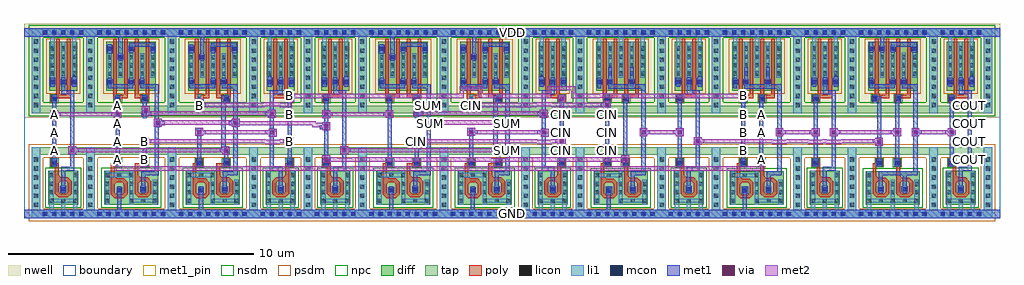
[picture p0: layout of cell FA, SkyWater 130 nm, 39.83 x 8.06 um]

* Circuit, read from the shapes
.subckt FA A B CIN COUT GND SUM VDD
XM1 GND A n1 GND sky130_fd_pr__nfet_01v8 w=2.56 l=0.147
XM2 n2 A GND GND sky130_fd_pr__nfet_01v8 w=2.6 l=0.1467
XM3 n2 B n3 GND sky130_fd_pr__nfet_01v8 w=2.56 l=0.1465
XM4 n4 n5 GND GND sky130_fd_pr__nfet_01v8 w=2.6 l=0.1469
XM5 n4 n1 n3 GND sky130_fd_pr__nfet_01v8 w=2.56 l=0.1474
XM6 GND B n5 GND sky130_fd_pr__nfet_01v8 w=2.56 l=0.1481
XM7 GND n3 n6 GND sky130_fd_pr__nfet_01v8 w=2.56 l=0.147
XM8 n7 n3 GND GND sky130_fd_pr__nfet_01v8 w=2.6 l=0.1467
XM9 n7 CIN SUM GND sky130_fd_pr__nfet_01v8 w=2.56 l=0.1465
XM10 n8 n9 GND GND sky130_fd_pr__nfet_01v8 w=2.6 l=0.1469
XM11 n8 n6 SUM GND sky130_fd_pr__nfet_01v8 w=2.56 l=0.1481
XM12 GND CIN n9 GND sky130_fd_pr__nfet_01v8 w=2.56 l=0.1481
XM13 n10 CIN GND GND sky130_fd_pr__nfet_01v8 w=2.6 l=0.1475
XM14 n10 n3 n11 GND sky130_fd_pr__nfet_01v8 w=2.56 l=0.1473
XM15 GND n11 n12 GND sky130_fd_pr__nfet_01v8 w=2.56 l=0.147
XM16 n13 B GND GND sky130_fd_pr__nfet_01v8 w=2.6 l=0.1475
XM17 n13 A n14 GND sky130_fd_pr__nfet_01v8 w=2.56 l=0.1473
XM18 GND n14 n15 GND sky130_fd_pr__nfet_01v8 w=2.56 l=0.1472
XM19 GND n12 n16 GND sky130_fd_pr__nfet_01v8 w=2.56 l=0.1456
XM20 GND n15 n16 GND sky130_fd_pr__nfet_01v8 w=2.56 l=0.1471
XM21 GND n16 COUT GND sky130_fd_pr__nfet_01v8 w=2.56 l=0.1485
XM22 n1 A VDD VDD sky130_fd_pr__pfet_01v8 w=2 l=0.15 m=2
XM23 VDD A n17 VDD sky130_fd_pr__pfet_01v8 w=2 l=0.15 m=2
XM24 n3 n5 n17 VDD sky130_fd_pr__pfet_01v8 w=2 l=0.15 m=2
XM25 VDD B n18 VDD sky130_fd_pr__pfet_01v8 w=2 l=0.15 m=2
XM26 n3 n1 n18 VDD sky130_fd_pr__pfet_01v8 w=2 l=0.15 m=2
XM27 n5 B VDD VDD sky130_fd_pr__pfet_01v8 w=2 l=0.15 m=2
XM28 n6 n3 VDD VDD sky130_fd_pr__pfet_01v8 w=2 l=0.15 m=2
XM29 VDD n3 n19 VDD sky130_fd_pr__pfet_01v8 w=2 l=0.15 m=2
XM30 SUM n9 n19 VDD sky130_fd_pr__pfet_01v8 w=2 l=0.15 m=2
XM31 VDD CIN n20 VDD sky130_fd_pr__pfet_01v8 w=2 l=0.15 m=2
XM32 SUM n6 n20 VDD sky130_fd_pr__pfet_01v8 w=2 l=0.15 m=2
XM33 n9 CIN VDD VDD sky130_fd_pr__pfet_01v8 w=2 l=0.15 m=2
XM34 n11 CIN VDD VDD sky130_fd_pr__pfet_01v8 w=2 l=0.15 m=2
XM35 n11 n3 VDD VDD sky130_fd_pr__pfet_01v8 w=2 l=0.15 m=2
XM36 n12 n11 VDD VDD sky130_fd_pr__pfet_01v8 w=2 l=0.15 m=2
XM37 n14 B VDD VDD sky130_fd_pr__pfet_01v8 w=2 l=0.15 m=2
XM38 n14 A VDD VDD sky130_fd_pr__pfet_01v8 w=2 l=0.15 m=2
XM39 n15 n14 VDD VDD sky130_fd_pr__pfet_01v8 w=2 l=0.15 m=2
XM40 VDD n12 n21 VDD sky130_fd_pr__pfet_01v8 w=2 l=0.15 m=2
XM41 n16 n15 n21 VDD sky130_fd_pr__pfet_01v8 w=2 l=0.15 m=2
XM42 COUT n16 VDD VDD sky130_fd_pr__pfet_01v8 w=2 l=0.15 m=2
.ends

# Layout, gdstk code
from math import pi, radians
import gdstk
lib = gdstk.Library(unit=1e-6, precision=1e-09)
def R(c, l, rs):  # rectangles x0, y0, x1, y1
    for r in rs: c.add(gdstk.rectangle(r[:2], r[2:], *l))
def A(c, l, x, y, w, h, nx, ny, dx, dy):  # array of equal rectangles
    R(c, l, [(x+i*dx, y+j*dy, x+i*dx+w, y+j*dy+h) for i in range(nx) for j in range(ny)])
def P(c, l, *ps):  # polygons
    for p in ps: c.add(gdstk.Polygon(p, *l))
nwell = (64, 20)
diff = (65, 20)
tap = (65, 44)
poly = (66, 20)
licon = (66, 44)
li1 = (67, 20)
mcon = (67, 44)
met1_pin = (68, 16)
met1 = (68, 20)
via = (68, 44)
met2 = (69, 20)
nsdm = (93, 44)
psdm = (94, 20)
npc = (95, 20)
boundary = (235, 4)

diff_ring_side = lib.new_cell('diff_ring_side')
R(diff_ring_side, nwell, [(-0.435,3.93,0.435,7.75)])
R(diff_ring_side, tap, [(-0.17,-0.17,0.17,2.72), (-0.17,4.11,0.17,7.57)])
A(diff_ring_side, licon, -0.085, 0.285, 0.17, 0.17, 1, 6, 0, 0.37)
A(diff_ring_side, licon, -0.085, 4.355, 0.17, 0.17, 1, 8, 0, 0.37)
R(diff_ring_side, li1, [(-0.17,-0.17,0.17,2.72), (-0.17,4.11,0.17,7.57)])
R(diff_ring_side, met1, [(-0.17,-0.17,0.17,0.17), (-0.17,7.23,0.17,7.57)])
R(diff_ring_side, nsdm, [(-0.295,3.985,0.295,7.695)])
R(diff_ring_side, psdm, [(-0.295,-0.295,0.295,2.845)])

poly_li1_contact = lib.new_cell('poly_li1_contact')
R(poly_li1_contact, poly, [(-0.16,-0.14,0.17,0.13)])
R(poly_li1_contact, licon, [(-0.08,-0.09,0.09,0.08)])
R(poly_li1_contact, li1, [(-0.16,-0.09,0.17,0.08)])
R(poly_li1_contact, npc, [(-0.18,-0.19,0.19,0.18)])

pmos2 = lib.new_cell('pmos2')
R(pmos2, nwell, [(0.26,-2.18,1.76,0.18)])
R(pmos2, diff, [(0.44,-2,1.58,0)])
R(pmos2, poly, [(0.72,-2.305,1.31,-2.155), (0.72,-2.155,0.87,0.13), (1.16,-2.155,1.31,0.13)])
A(pmos2, licon, 0.49, -1.38, 0.17, 0.17, 3, 4, 0.44, 0.34)
R(pmos2, li1, [(0.49,-1.465,0.66,0.21), (0.93,-1.465,1.1,0), (1.37,-1.465,1.54,0.21)])
R(pmos2, psdm, [(0.315,-2.125,1.705,0.125)])

nmos_top = lib.new_cell('nmos_top')
R(nmos_top, diff, [(0,0,1.23,1.38)])
R(nmos_top, poly, [(0.42,0.31,0.8,0.46), (0.27,0.46,0.42,0.965), (0.8,0.46,0.95,0.965), (0.42,0.965,0.95,1.115), (0.8,1.115,0.95,1.54)])
P(nmos_top, poly, [(0.72,1.115),(0.8,1.115),(0.8,1.195)],
  [(0.27,0.965),(0.42,0.965),(0.42,1.115)],
  [(0.42,0.885),(0.42,0.965),(0.5,0.965)],
  [(0.72,0.965),(0.8,0.965),(0.8,0.885)],
  [(0.42,0.54),(0.42,0.46),(0.5,0.46)],
  [(0.72,0.46),(0.8,0.46),(0.8,0.54)],
  [(0.27,0.46),(0.42,0.46),(0.42,0.31)],
  [(0.8,0.31),(0.8,0.46),(0.95,0.46)])
R(nmos_top, licon, [(0.04,0.08,0.21,0.25), (0.53,0.08,0.7,0.25), (1.01,0.08,1.18,0.25), (0.04,0.43,0.21,0.6), (1.01,0.43,1.18,0.6), (0.53,0.55,0.7,0.72), (0.04,0.77,0.21,0.94), (1.01,0.77,1.18,0.94), (0.04,1.13,0.21,1.3), (1.01,1.13,1.18,1.3)])
R(nmos_top, li1, [(0.04,0,0.21,0.08), (1.01,0,1.18,0.08), (0.04,0.08,1.18,0.25), (0.04,0.25,0.21,1.38), (1.01,0.25,1.18,1.38), (0.53,0.47,0.7,0.805)])
R(nmos_top, nsdm, [(-0.125,-0.125,1.355,1.505)])

invx1_pcell = lib.new_cell('invx1_pcell')
R(invx1_pcell, nwell, [(-0.435,3.93,2.655,7.75)])
A(invx1_pcell, diff, 0.59, 5.295, 0.17, 0.17, 3, 1, 0.44, 0)
R(invx1_pcell, tap, [(0.17,-0.17,2.05,0.085), (0.17,2.41,2.05,2.72), (0.17,4.11,2.05,4.42), (0.17,7.315,2.05,7.57)])
R(invx1_pcell, poly, [(0.775,1.905,0.925,2.065)])
A(invx1_pcell, licon, 0.285, -0.085, 0.17, 0.17, 5, 2, 0.37, 7.4)
A(invx1_pcell, licon, 0.59, 5.295, 0.17, 0.17, 3, 1, 0.44, 0)
A(invx1_pcell, li1, 0.59, 5.215, 0.17, 0.37, 3, 1, 0.44, 0)
R(invx1_pcell, li1, [(-0.17,-0.17,2.33,0.17), (0.545,0.17,0.715,0.42), (1.025,0.17,1.195,0.45), (1.515,0.17,1.685,0.45), (1.025,0.92,1.195,1.09), (0.655,2,0.825,2.17), (0.655,4.615,0.825,4.785), (-0.17,7.23,2.39,7.57)])
A(invx1_pcell, mcon, 0.285, -0.085, 0.17, 0.17, 5, 2, 0.37, 7.4)
A(invx1_pcell, mcon, 0.59, 5.295, 0.17, 0.17, 3, 1, 0.44, 0)
R(invx1_pcell, mcon, [(1.025,0.92,1.195,1.09), (0.655,2,0.825,2.17), (0.655,4.615,0.825,4.785)])
R(invx1_pcell, met1, [(-0.17,-0.17,2.39,0.17), (0.99,0.86,1.23,1.15), (1.025,1.15,1.195,1.755), (1.025,1.755,1.565,1.925), (1.395,1.925,1.565,4.875), (0.615,1.94,0.865,2.25), (0.655,2.25,0.825,4.58), (0.62,4.58,0.87,4.83), (0.655,4.83,0.825,4.865), (1.03,4.875,1.565,5.045), (1.03,5.045,1.2,5.24), (0.59,5.185,0.76,5.24), (1.47,5.185,1.64,5.24), (0.56,5.24,0.795,5.555), (1,5.24,1.23,5.505), (1.44,5.24,1.675,5.555), (1.03,5.505,1.2,5.575), (1.47,5.555,1.64,5.62), (-0.17,7.23,2.39,7.57)])
R(invx1_pcell, nsdm, [(0.045,3.985,2.175,4.545), (0.045,7.19,2.175,7.695)])
R(invx1_pcell, psdm, [(0.045,-0.295,2.175,0.21), (0.045,2.285,2.175,2.845), (0.465,5.17,1.765,5.59)])
invx1_pcell.add(gdstk.Reference(poly_li1_contact, (0.735,2.08), rotation=pi/2))
invx1_pcell.add(gdstk.Reference(poly_li1_contact, (0.745,4.705), rotation=3*pi/2))
invx1_pcell.add(gdstk.Reference(pmos2, (0.1,7.02)))
invx1_pcell.add(gdstk.Reference(nmos_top, (1.725,0.37), rotation=pi, x_reflection=True))
invx1_pcell.add(gdstk.Reference(diff_ring_side, (0,0)))
invx1_pcell.add(gdstk.Reference(diff_ring_side, (2.22,0)))

li1_m1_contact = lib.new_cell('li1_M1_contact')
R(li1_m1_contact, li1, [(-0.085,-0.165,0.085,0.165)])
R(li1_m1_contact, mcon, [(-0.085,-0.085,0.085,0.085)])
R(li1_m1_contact, met1, [(-0.115,-0.115,0.115,-0.085), (-0.265,-0.085,0.145,0.085), (-0.115,0.085,0.115,0.115)])

pmos2_1 = lib.new_cell('pmos2_1')
R(pmos2_1, nwell, [(0.26,-2.175,1.76,0.185)])
R(pmos2_1, diff, [(0.44,-1.995,1.58,0.005)])
R(pmos2_1, poly, [(0.72,-2.3,1.31,-2.15), (0.72,-2.15,0.87,0.135), (1.16,-2.15,1.31,0.135)])
A(pmos2_1, licon, 0.49, -1.385, 0.17, 0.17, 3, 3, 0.44, 0.34)
A(pmos2_1, li1, 0.49, -1.465, 0.17, 1.01, 3, 1, 0.44, 0)
R(pmos2_1, psdm, [(0.315,-2.12,1.705,0.13)])

nmos_top_trim1 = lib.new_cell('nmos_top_trim1')
R(nmos_top_trim1, diff, [(0,0,1.24,1.38)])
R(nmos_top_trim1, poly, [(0.43,0.31,0.81,0.46), (0.28,0.46,0.43,0.965), (0.81,0.46,0.96,0.965), (0.43,0.965,0.96,1.115), (0.81,1.115,0.96,1.545)])
P(nmos_top_trim1, poly, [(0.73,1.115),(0.81,1.115),(0.81,1.195)],
  [(0.28,0.965),(0.43,0.965),(0.43,1.115)],
  [(0.43,0.885),(0.43,0.965),(0.51,0.965)],
  [(0.73,0.965),(0.81,0.965),(0.81,0.885)],
  [(0.43,0.54),(0.43,0.46),(0.51,0.46)],
  [(0.73,0.46),(0.81,0.46),(0.81,0.54)],
  [(0.28,0.46),(0.43,0.46),(0.43,0.31)],
  [(0.81,0.31),(0.81,0.46),(0.96,0.46)])
A(nmos_top_trim1, licon, 0.05, 0.08, 0.17, 0.17, 3, 1, 0.485, 0)
R(nmos_top_trim1, licon, [(0.05,0.43,0.22,0.6), (1.02,0.43,1.19,0.6), (0.535,0.55,0.705,0.72), (0.05,0.77,0.22,0.94), (1.02,0.77,1.19,0.94), (1.02,1.13,1.19,1.3)])
R(nmos_top_trim1, li1, [(0.05,0,0.22,0.08), (1.02,0,1.19,0.08), (0.05,0.08,1.19,0.25), (0.05,0.25,0.22,1.02), (1.02,0.25,1.19,1.38), (0.535,0.47,0.705,0.805)])
R(nmos_top_trim1, nsdm, [(-0.125,-0.125,1.365,1.505)])

nmos_bottom = lib.new_cell('nmos_bottom')
R(nmos_bottom, diff, [(0,0,1.24,1.38)])
R(nmos_bottom, poly, [(0.43,0.27,0.81,0.42), (0.28,0.42,0.43,0.925), (0.81,0.42,0.96,0.925), (0.43,0.925,0.96,1.075), (0.81,1.075,0.96,1.51)])
P(nmos_bottom, poly, [(0.73,1.075),(0.81,1.075),(0.81,1.155)],
  [(0.28,0.925),(0.43,0.925),(0.43,1.075)],
  [(0.43,0.845),(0.43,0.925),(0.51,0.925)],
  [(0.73,0.925),(0.81,0.925),(0.81,0.845)],
  [(0.43,0.5),(0.43,0.42),(0.51,0.42)],
  [(0.73,0.42),(0.81,0.42),(0.81,0.5)],
  [(0.28,0.42),(0.43,0.42),(0.43,0.27)],
  [(0.81,0.27),(0.81,0.42),(0.96,0.42)])
A(nmos_bottom, licon, 0.05, 1.13, 0.17, 0.17, 3, 1, 0.485, 0)
R(nmos_bottom, licon, [(0.05,0.08,0.22,0.25), (1.02,0.08,1.19,0.25), (0.05,0.43,0.22,0.6), (1.02,0.43,1.19,0.6), (0.535,0.505,0.705,0.675), (0.05,0.77,0.22,0.94), (1.02,0.77,1.19,0.94)])
R(nmos_bottom, li1, [(0.05,0,0.22,1.13), (1.02,0,1.19,1.13), (0.535,0.425,0.705,0.755), (0.05,1.13,1.19,1.3), (0.05,1.3,0.22,1.38), (1.02,1.3,1.19,1.38)])
R(nmos_bottom, nsdm, [(-0.125,-0.125,1.365,1.505)])

xor2x1_pcell = lib.new_cell('xor2X1_pcell')
R(xor2x1_pcell, nwell, [(2.655,3.93,8.445,4.125), (2.64,4.125,5.13,4.84), (5.97,4.125,8.46,4.84), (10.21,4.525,10.275,4.565), (2.64,4.84,2.695,7.195), (5.075,4.84,5.13,7.195), (5.97,4.84,6.025,7.2), (8.405,4.84,8.46,7.2), (2.925,6.65,3.095,6.82), (2.64,7.195,5.13,7.23), (5.97,7.2,8.46,7.23), (2.39,7.23,5.38,7.245), (5.72,7.23,8.71,7.245), (2.39,7.245,5.395,7.315), (5.705,7.245,8.71,7.315), (2.39,7.315,8.71,7.57), (2.64,7.57,5.13,7.66), (5.97,7.57,8.46,7.66), (2.655,7.66,8.445,7.75)])
A(xor2x1_pcell, diff, 2.925, 6.65, 0.17, 0.17, 3, 1, 0.88, 0)
A(xor2x1_pcell, diff, 6.255, 6.65, 0.17, 0.17, 3, 1, 0.88, 0)
R(xor2x1_pcell, diff, [(2.925,5.29,3.095,5.46), (3.805,5.29,3.975,5.46), (4.245,5.29,4.415,5.46), (6.255,5.29,6.425,5.46), (7.135,5.29,7.305,5.46), (7.575,5.29,7.745,5.46)])
R(xor2x1_pcell, tap, [(2.39,-0.17,5.38,-0.085), (5.72,-0.17,8.71,-0.085), (2.39,-0.085,5.395,0.085), (5.705,-0.085,8.71,0.085), (2.39,2.41,5.395,2.72), (5.705,2.41,8.71,2.72), (2.39,4.11,5.395,4.42), (5.705,4.11,8.71,4.42), (2.39,7.315,8.71,7.57)])
R(xor2x1_pcell, poly, [(3.06,1.88,3.21,1.92), (6.39,1.88,6.54,1.92), (4.03,1.915,4.18,1.92), (7.36,1.915,7.51,1.92), (3.06,1.92,3.195,2.07), (4.03,1.92,4.305,2.07), (6.39,1.92,6.525,2.07), (7.36,1.92,7.635,2.07)])
A(xor2x1_pcell, licon, 2.505, -0.085, 0.17, 0.17, 8, 2, 0.37, 7.4)
A(xor2x1_pcell, licon, 5.835, -0.085, 0.17, 0.17, 8, 2, 0.37, 7.4)
A(xor2x1_pcell, licon, 2.925, 6.65, 0.17, 0.17, 3, 1, 0.88, 0)
A(xor2x1_pcell, licon, 6.255, 6.65, 0.17, 0.17, 3, 1, 0.88, 0)
R(xor2x1_pcell, licon, [(2.925,5.29,3.095,5.46), (3.805,5.29,3.975,5.46), (4.245,5.29,4.415,5.46), (6.255,5.29,6.425,5.46), (7.135,5.29,7.305,5.46), (7.575,5.29,7.745,5.46)])
A(xor2x1_pcell, li1, 2.925, 6.56, 0.17, 0.34, 3, 1, 0.88, 0)
A(xor2x1_pcell, li1, 6.255, 6.56, 0.17, 0.34, 3, 1, 0.88, 0)
R(xor2x1_pcell, li1, [(2.375,-0.17,9.075,0.17), (3.315,0.875,3.485,1.045), (6.645,0.875,6.815,1.045), (4.285,0.92,4.455,1.09), (7.615,0.92,7.785,1.09), (3.245,2,3.415,2.17), (4.355,2,4.525,2.17), (6.575,2,6.745,2.17), (7.685,2,7.855,2.17), (0.655,4.615,0.825,4.785), (3.245,4.615,3.415,4.785), (4.355,4.615,4.525,4.785), (7.685,4.615,7.855,4.785), (2.925,5.21,3.095,5.63), (3.805,5.21,3.975,5.565), (4.245,5.21,4.415,5.575), (6.255,5.21,6.425,5.605), (7.135,5.21,7.305,5.59), (7.575,5.21,7.745,5.6), (3.365,6.31,3.535,6.48), (6.695,6.31,6.865,6.48), (2.39,7.23,8.845,7.57)])
A(xor2x1_pcell, mcon, 2.505, -0.085, 0.17, 0.17, 8, 2, 0.37, 7.4)
A(xor2x1_pcell, mcon, 5.835, -0.085, 0.17, 0.17, 8, 2, 0.37, 7.4)
A(xor2x1_pcell, mcon, 2.925, 6.65, 0.17, 0.17, 3, 1, 0.88, 0)
A(xor2x1_pcell, mcon, 6.255, 6.65, 0.17, 0.17, 3, 1, 0.88, 0)
R(xor2x1_pcell, mcon, [(3.315,0.875,3.485,1.045), (6.645,0.875,6.815,1.045), (4.285,0.92,4.455,1.09), (7.615,0.92,7.785,1.09), (3.245,2,3.415,2.17), (4.355,2,4.525,2.17), (6.575,2,6.745,2.17), (7.685,2,7.855,2.17), (0.655,4.615,0.825,4.785), (3.245,4.615,3.415,4.785), (4.355,4.615,4.525,4.785), (7.685,4.615,7.855,4.785), (2.925,5.29,3.095,5.46), (3.805,5.29,3.975,5.46), (4.245,5.29,4.415,5.46), (6.255,5.29,6.425,5.46), (7.135,5.29,7.305,5.46), (7.575,5.29,7.745,5.46), (3.365,6.31,3.535,6.48), (6.695,6.31,6.865,6.48)])
R(xor2x1_pcell, met1, [(2.39,-0.17,5.38,-0.14), (5.72,-0.17,8.71,-0.14), (2.39,-0.14,5.395,0.17), (5.705,-0.14,8.71,0.17), (3.315,0.17,3.485,0.845), (6.645,0.17,6.815,0.845), (3.285,0.845,3.52,1.08), (6.615,0.845,6.845,1.075), (4.285,0.86,4.455,0.885), (7.615,0.86,7.785,0.89), (4.255,0.885,4.49,1.125), (7.585,0.89,7.815,1.12), (6.645,1.075,6.815,1.105), (3.315,1.08,3.485,1.105), (7.615,1.12,7.785,1.57), (4.285,1.125,4.455,1.57), (4.285,1.57,5.015,1.74), (7.615,1.57,8.225,1.74), (4.845,1.74,5.015,3.555), (8.055,1.74,8.225,3.555), (3.245,1.94,3.415,1.965), (4.355,1.94,4.525,1.97), (6.575,1.94,6.745,1.96), (7.685,1.94,7.855,1.96), (6.54,1.96,6.78,2.205), (7.64,1.96,7.895,2.23), (3.205,1.965,3.45,2.24), (4.315,1.97,4.56,2.235), (6.575,2.205,6.745,3.205), (7.685,2.23,7.855,2.415), (4.355,2.235,4.525,2.815), (3.245,2.24,3.415,3.915), (7.595,2.415,7.915,2.64), (1.32,2.43,1.64,2.75), (7.565,2.64,7.915,2.735), (9.535,2.69,9.705,3.155), (7.565,2.735,7.735,4.55), (10.195,2.8,10.515,3.12), (4.28,2.815,4.6,2.875), (4.28,2.875,4.57,3.045), (4.28,3.045,4.6,3.135), (9.495,3.155,9.815,3.475), (6.5,3.205,6.82,3.505), (9.535,3.475,9.705,3.96), (4.845,3.555,5.135,3.585), (7.995,3.555,8.305,3.875), (4.815,3.585,5.135,3.875), (0.655,3.62,0.825,3.91), (4.845,3.875,5.015,5.12), (8.055,3.875,8.225,5.12), (0.58,3.91,0.9,4.23), (3.165,3.915,3.485,4.235), (9.465,3.96,9.785,4.25), (4.325,4.075,4.645,4.395), (0.655,4.23,0.825,4.585), (3.245,4.235,3.415,4.585), (9.535,4.25,9.705,4.355), (6.575,4.31,6.745,4.37), (6.5,4.37,6.82,4.69), (4.355,4.395,4.525,4.585), (10.21,4.545,10.53,4.865), (7.565,4.55,7.89,4.82), (0.62,4.585,0.86,4.835), (3.215,4.585,3.445,4.815), (4.315,4.585,4.565,4.83), (3.245,4.815,3.415,4.845), (7.685,4.82,7.855,4.845), (4.355,4.83,4.525,4.845), (0.655,4.835,0.825,4.845), (2.925,5.12,3.975,5.255), (4.245,5.12,5.015,5.26), (6.255,5.12,7.305,5.26), (7.575,5.12,8.225,5.26), (2.89,5.255,4.01,5.29), (4.215,5.26,5.015,5.29), (6.225,5.26,7.335,5.29), (7.545,5.26,8.225,5.29), (2.89,5.29,3.145,5.49), (3.77,5.29,4.01,5.49), (4.215,5.29,4.445,5.49), (6.225,5.29,6.455,5.49), (7.105,5.29,7.335,5.49), (7.545,5.29,7.775,5.49), (2.925,5.49,3.095,5.55), (3.805,5.49,3.975,5.55), (4.245,5.49,4.415,5.55), (6.255,5.49,6.425,5.55), (7.135,5.49,7.305,5.55), (7.575,5.49,7.745,5.55), (3.365,6.25,3.535,6.28), (6.695,6.25,6.865,6.28), (3.335,6.28,3.565,6.52), (6.665,6.28,6.895,6.51), (6.695,6.51,6.865,7.23), (3.365,6.52,3.535,7.23), (2.925,6.54,3.095,6.56), (6.255,6.545,6.425,6.57), (2.895,6.56,3.125,6.885), (3.805,6.56,3.975,6.62), (4.685,6.56,4.855,6.62), (7.135,6.56,7.305,6.62), (8.015,6.56,8.185,6.615), (6.215,6.57,6.455,6.88), (7.98,6.615,8.215,6.82), (3.775,6.62,4.005,6.82), (4.655,6.62,4.885,6.82), (7.105,6.62,7.335,6.82), (3.775,6.82,4.885,6.85), (7.105,6.82,8.215,6.85), (3.805,6.85,4.885,6.855), (7.135,6.85,8.215,6.87), (3.805,6.855,4.855,6.99), (7.135,6.87,8.185,6.99), (6.255,6.88,6.425,6.91), (2.925,6.885,3.095,6.925), (2.39,7.23,5.38,7.245), (5.72,7.23,8.71,7.245), (2.39,7.245,5.395,7.315), (5.705,7.245,8.71,7.315), (2.39,7.315,8.71,7.57)])
R(xor2x1_pcell, via, [(7.68,2.5,7.83,2.65), (1.405,2.515,1.555,2.665), (10.28,2.885,10.43,3.035), (4.365,2.9,4.515,3.05), (9.58,3.24,9.73,3.39), (6.585,3.27,6.735,3.42), (4.9,3.64,5.05,3.79), (8.08,3.64,8.23,3.79), (0.665,3.995,0.815,4.145), (3.25,4,3.4,4.15), (9.55,4.015,9.7,4.165), (4.41,4.16,4.56,4.31), (6.585,4.455,6.735,4.605), (10.295,4.63,10.445,4.78)])
R(xor2x1_pcell, met2, [(7.595,2.415,7.915,2.505), (1.32,2.43,1.64,2.505), (1.32,2.505,7.915,2.675), (1.32,2.675,1.64,2.75), (7.595,2.675,7.915,2.735), (10.195,2.8,10.515,2.875), (4.28,2.815,4.6,2.875), (9.355,2.845,9.955,2.875), (4.28,2.875,10.515,3.015), (4.28,3.015,9.355,3.045), (9.955,3.015,10.515,3.045), (4.28,3.045,4.6,3.135), (10.195,3.045,10.515,3.12), (9.495,3.155,9.815,3.245), (6.5,3.185,6.82,3.245), (6.5,3.245,9.815,3.415), (6.5,3.415,6.82,3.505), (9.495,3.415,9.815,3.475), (4.815,3.555,5.135,3.645), (7.995,3.555,8.315,3.645), (4.815,3.645,8.315,3.815), (4.815,3.815,5.135,3.875), (7.995,3.815,8.315,3.875), (0.58,3.91,0.9,3.985), (3.165,3.915,3.485,3.985), (9.465,3.93,9.785,4.015), (0.58,3.985,3.485,4.155), (4.325,3.985,4.54,4.015), (4.325,4.015,9.785,4.185), (0.58,4.155,0.9,4.23), (3.165,4.155,3.485,4.235), (4.325,4.185,4.645,4.395), (9.465,4.185,9.785,4.25), (6.82,4.355,9.325,4.37), (9.925,4.355,10.425,4.39), (6.5,4.37,9.325,4.39), (6.5,4.39,10.425,4.525), (6.5,4.525,6.82,4.69), (9.185,4.525,10.065,4.53), (10.21,4.525,10.425,4.545), (9.325,4.53,9.925,4.56), (10.21,4.545,10.53,4.865)])
R(xor2x1_pcell, nsdm, [(2.265,3.985,8.835,4.545), (2.265,7.19,8.835,7.695)])
A(xor2x1_pcell, psdm, 2.8, 6.525, 0.42, 0.42, 3, 1, 0.88, 0)
A(xor2x1_pcell, psdm, 6.13, 6.525, 0.42, 0.42, 3, 1, 0.88, 0)
R(xor2x1_pcell, psdm, [(2.265,-0.295,8.835,0.21), (2.265,2.285,8.835,2.845), (2.8,5.165,3.22,5.585), (3.68,5.165,4.54,5.585), (6.13,5.165,6.55,5.585), (7.01,5.165,7.87,5.585)])
xor2x1_pcell.add(gdstk.Reference(diff_ring_side, (2.22,0)))
xor2x1_pcell.add(gdstk.Reference(invx1_pcell, (0,0)))
xor2x1_pcell.add(gdstk.Reference(li1_m1_contact, (0.74,4.07), rotation=pi))
xor2x1_pcell.add(gdstk.Reference(li1_m1_contact, (1.48,2.59), rotation=pi))
xor2x1_pcell.add(gdstk.Reference(poly_li1_contact, (3.335,2.09), rotation=3*pi/2))
xor2x1_pcell.add(gdstk.Reference(poly_li1_contact, (3.335,4.705), rotation=3*pi/2))
xor2x1_pcell.add(gdstk.Reference(pmos2_1, (3.315,7.015)))
xor2x1_pcell.add(gdstk.Reference(pmos2_1, (2.435,7.015)))
xor2x1_pcell.add(gdstk.Reference(nmos_top_trim1, (4.99,0.37), rotation=pi, x_reflection=True))
xor2x1_pcell.add(gdstk.Reference(nmos_bottom, (4.02,0.37), rotation=pi, x_reflection=True))
xor2x1_pcell.add(gdstk.Reference(li1_m1_contact, (3.33,4.07)))
xor2x1_pcell.add(gdstk.Reference(poly_li1_contact, (4.445,4.705), rotation=3*pi/2))
xor2x1_pcell.add(gdstk.Reference(poly_li1_contact, (4.445,2.09), rotation=3*pi/2))
xor2x1_pcell.add(gdstk.Reference(li1_m1_contact, (4.44,2.96), rotation=pi))
xor2x1_pcell.add(gdstk.Reference(li1_m1_contact, (4.98,3.7), rotation=pi))
xor2x1_pcell.add(gdstk.Reference(li1_m1_contact, (4.44,4.07), rotation=pi))
xor2x1_pcell.add(gdstk.Reference(diff_ring_side, (5.55,0)))
xor2x1_pcell.add(gdstk.Reference(poly_li1_contact, (6.665,4.705), rotation=3*pi/2))
xor2x1_pcell.add(gdstk.Reference(poly_li1_contact, (6.665,2.09), rotation=3*pi/2))
xor2x1_pcell.add(gdstk.Reference(pmos2_1, (6.645,7.015)))
xor2x1_pcell.add(gdstk.Reference(pmos2_1, (5.765,7.015)))
xor2x1_pcell.add(gdstk.Reference(nmos_top_trim1, (8.32,0.37), rotation=pi, x_reflection=True))
xor2x1_pcell.add(gdstk.Reference(nmos_bottom, (7.35,0.37), rotation=pi, x_reflection=True))
xor2x1_pcell.add(gdstk.Reference(li1_m1_contact, (6.66,3.33), rotation=pi))
xor2x1_pcell.add(gdstk.Reference(li1_m1_contact, (6.66,4.44), rotation=pi))
xor2x1_pcell.add(gdstk.Reference(poly_li1_contact, (7.775,4.705), rotation=3*pi/2))
xor2x1_pcell.add(gdstk.Reference(poly_li1_contact, (7.775,2.09), rotation=3*pi/2))
xor2x1_pcell.add(gdstk.Reference(li1_m1_contact, (8.14,3.7)))
xor2x1_pcell.add(gdstk.Reference(li1_m1_contact, (7.77,2.59)))
xor2x1_pcell.add(gdstk.Reference(diff_ring_side, (8.88,0)))
xor2x1_pcell.add(gdstk.Reference(invx1_pcell, (11.1,0), rotation=pi, x_reflection=True))
xor2x1_pcell.add(gdstk.Reference(li1_m1_contact, (10.36,2.96)))
xor2x1_pcell.add(gdstk.Reference(li1_m1_contact, (9.62,4.07)))
xor2x1_pcell.add(gdstk.Reference(li1_m1_contact, (9.62,3.33)))

nand2x1_pcell = lib.new_cell('nand2x1_pcell')
R(nand2x1_pcell, nwell, [(0.435,3.93,2.895,7.75)])
R(nand2x1_pcell, diff, [(1.115,5.265,1.345,5.5), (1.995,5.265,2.225,5.5), (0.705,5.295,0.875,5.465)])
R(nand2x1_pcell, tap, [(0.17,-0.17,3.16,-0.15), (0.155,-0.15,3.175,0.085), (0.155,2.4,0.17,2.41), (3.16,2.4,3.175,2.41), (0.155,2.41,3.175,2.71), (0.17,2.71,3.16,2.72), (0.17,4.11,3.16,4.42), (0.17,7.315,3.16,7.57)])
R(nand2x1_pcell, poly, [(0.84,1.875,0.99,2.065), (1.81,1.91,1.96,1.915)])
A(nand2x1_pcell, licon, 0.285, -0.085, 0.17, 0.17, 8, 2, 0.37, 7.4)
R(nand2x1_pcell, licon, [(0.705,5.295,0.875,5.465), (1.145,5.295,1.315,5.465), (2.025,5.295,2.195,5.465)])
R(nand2x1_pcell, li1, [(0.165,-0.17,3.295,0.17), (1.095,0.87,1.265,1.04), (2.065,0.915,2.235,1.085), (1.025,1.995,1.195,2.165), (1.765,1.995,1.935,2.165), (1.025,4.615,1.195,4.785), (1.795,4.615,1.965,4.785), (0.705,5.215,0.875,5.61), (1.145,5.215,1.315,5.61), (2.025,5.215,2.195,5.61), (-0.17,7.23,3.17,7.57)])
A(nand2x1_pcell, mcon, 0.285, -0.085, 0.17, 0.17, 8, 2, 0.37, 7.4)
R(nand2x1_pcell, mcon, [(1.095,0.87,1.265,1.04), (2.065,0.915,2.235,1.085), (1.025,1.995,1.195,2.165), (1.765,1.995,1.935,2.165), (1.025,4.615,1.195,4.785), (1.795,4.615,1.965,4.785), (0.705,5.295,0.875,5.465), (1.145,5.295,1.315,5.465), (2.025,5.295,2.195,5.465)])
R(nand2x1_pcell, met1, [(-0.17,-0.17,3.5,0.17), (1.095,0.17,1.265,0.825), (1.045,0.825,1.31,1.1), (2.035,0.855,2.265,1.12), (2.065,1.12,2.235,1.57), (2.065,1.57,2.675,1.74), (2.505,1.74,2.675,5.115), (0.99,1.935,1.23,2.205), (1.735,1.935,1.97,2.205), (1.025,2.205,1.195,4.56), (1.765,2.205,1.935,4.555), (1.765,4.555,1.97,4.58), (0.995,4.56,1.23,4.845), (1.765,4.58,1.995,4.845), (1.145,5.115,2.675,5.265), (0.705,5.135,0.875,5.265), (0.675,5.265,0.905,5.5), (1.115,5.265,2.675,5.285), (1.115,5.285,1.345,5.5), (1.995,5.285,2.225,5.5), (0.705,5.5,0.875,5.555), (1.145,5.5,1.315,5.98), (2.025,5.5,2.195,5.98), (-0.17,7.23,3.5,7.57)])
R(nand2x1_pcell, nsdm, [(0.045,3.985,3.285,4.545), (0.045,7.19,3.285,7.695)])
R(nand2x1_pcell, psdm, [(0.045,-0.295,3.285,-0.275), (0.03,-0.275,3.3,0.21), (0.03,2.275,0.295,2.285), (3.035,2.275,3.3,2.285), (0.03,2.285,3.3,2.835), (0.045,2.835,3.285,2.845), (0.99,5.14,1.47,5.17), (1.87,5.14,2.35,5.625), (0.58,5.17,1.47,5.59), (0.99,5.59,1.47,5.625)])
nand2x1_pcell.add(gdstk.Reference(diff_ring_side, (0,0)))
nand2x1_pcell.add(gdstk.Reference(nmos_bottom, (1.8,0.365), rotation=pi, x_reflection=True))
nand2x1_pcell.add(gdstk.Reference(pmos2, (0.215,7.02)))
nand2x1_pcell.add(gdstk.Reference(poly_li1_contact, (1.115,4.705), rotation=3*pi/2))
nand2x1_pcell.add(gdstk.Reference(poly_li1_contact, (1.115,2.085), rotation=3*pi/2))
nand2x1_pcell.add(gdstk.Reference(nmos_top_trim1, (2.77,0.365), rotation=pi, x_reflection=True))
nand2x1_pcell.add(gdstk.Reference(pmos2, (1.095,7.02)))
nand2x1_pcell.add(gdstk.Reference(poly_li1_contact, (1.845,2.075), rotation=pi/2))
nand2x1_pcell.add(gdstk.Reference(poly_li1_contact, (1.885,4.705), rotation=3*pi/2))
nand2x1_pcell.add(gdstk.Reference(diff_ring_side, (3.33,0)))

and2x1_pcell = lib.new_cell('and2x1_pcell')
R(and2x1_pcell, met1, [(2.43,3.17,2.75,3.49), (3.905,3.17,4.225,3.49)])
R(and2x1_pcell, via, [(2.515,3.255,2.665,3.405), (3.99,3.255,4.14,3.405)])
R(and2x1_pcell, met2, [(2.43,3.17,2.75,3.245), (3.905,3.17,4.225,3.245), (2.43,3.245,4.225,3.415), (2.43,3.415,2.75,3.49), (3.905,3.415,4.225,3.49)])
and2x1_pcell.add(gdstk.Reference(nand2x1_pcell, (0,0)))
and2x1_pcell.add(gdstk.Reference(li1_m1_contact, (4.07,3.33)))
and2x1_pcell.add(gdstk.Reference(li1_m1_contact, (2.59,3.33), rotation=pi))
and2x1_pcell.add(gdstk.Reference(invx1_pcell, (3.33,0)))

nmos_top_trim2 = lib.new_cell('nmos_top_trim2')
R(nmos_top_trim2, diff, [(0,0,1.24,1.38)])
R(nmos_top_trim2, poly, [(0.43,0.31,0.81,0.46), (0.28,0.46,0.43,0.89), (0.81,0.46,0.96,0.89), (0.28,0.89,0.435,0.965), (0.805,0.89,0.96,0.965), (0.43,0.965,0.96,1.115), (0.81,1.115,0.96,1.545)])
P(nmos_top_trim2, poly, [(0.73,1.115),(0.81,1.115),(0.81,1.195)],
  [(0.28,0.965),(0.43,0.965),(0.43,1.115)],
  [(0.435,0.89),(0.435,0.965),(0.51,0.965)],
  [(0.73,0.965),(0.805,0.965),(0.805,0.89)],
  [(0.43,0.54),(0.43,0.46),(0.51,0.46)],
  [(0.73,0.46),(0.81,0.46),(0.81,0.54)],
  [(0.28,0.46),(0.43,0.46),(0.43,0.31)],
  [(0.81,0.31),(0.81,0.46),(0.96,0.46)])
A(nmos_top_trim2, licon, 0.05, 0.08, 0.17, 0.17, 3, 1, 0.485, 0)
R(nmos_top_trim2, licon, [(0.05,0.43,0.22,0.6), (1.02,0.43,1.19,0.6), (0.535,0.55,0.705,0.72), (0.05,0.77,0.22,0.94), (1.02,0.77,1.19,0.94)])
R(nmos_top_trim2, li1, [(0.05,0,0.22,0.08), (1.02,0,1.19,0.08), (0.05,0.08,1.19,0.25), (0.05,0.25,0.22,1.025), (1.02,0.25,1.19,1.025), (0.535,0.47,0.705,0.805)])
R(nmos_top_trim2, nsdm, [(-0.125,-0.125,1.365,1.505)])

nor2x1_pcell = lib.new_cell('nor2x1_pcell')
R(nor2x1_pcell, nwell, [(0.435,3.93,2.895,7.75)])
A(nor2x1_pcell, diff, 0.705, 6.655, 0.17, 0.17, 3, 1, 0.44, 0)
R(nor2x1_pcell, diff, [(0.705,5.215,0.875,5.465), (1.585,5.215,1.755,5.25), (2.025,5.215,2.195,5.25), (1.585,5.295,1.755,5.465), (2.025,5.295,2.195,5.465), (2.465,6.655,2.635,6.825)])
R(nor2x1_pcell, tap, [(0.17,-0.17,3.16,0.085), (0.17,2.41,3.16,2.72), (0.17,4.11,3.16,4.42), (0.17,7.315,3.16,7.57)])
R(nor2x1_pcell, poly, [(0.84,1.875,0.99,2.065), (1.81,1.91,1.96,1.915)])
A(nor2x1_pcell, licon, 0.285, -0.085, 0.17, 0.17, 8, 2, 0.37, 7.4)
A(nor2x1_pcell, licon, 0.705, 6.655, 0.17, 0.17, 3, 1, 0.44, 0)
R(nor2x1_pcell, licon, [(0.705,5.295,0.875,5.465), (1.585,5.295,1.755,5.465), (2.025,5.295,2.195,5.465), (2.465,6.655,2.635,6.825)])
R(nor2x1_pcell, li1, [(0.165,-0.17,3.285,0.17), (0.61,0.17,0.78,0.785), (1.58,0.17,1.75,0.445), (2.55,0.17,2.72,0.445), (1.095,0.915,1.265,1.085), (2.065,0.915,2.235,1.085), (1.025,1.995,1.195,2.165), (1.765,1.995,1.935,2.165), (0.87,4.62,1.04,4.79), (1.8,4.62,1.97,4.79), (0.705,5.215,0.875,5.975), (1.585,5.215,1.755,5.975), (2.025,5.215,2.195,5.975), (1.145,6.145,1.315,7.025), (1.585,6.145,1.755,6.905), (2.465,6.145,2.635,6.905), (0.705,6.56,0.875,7.025), (-0.17,7.23,3.335,7.57)])
A(nor2x1_pcell, mcon, 0.285, -0.085, 0.17, 0.17, 8, 2, 0.37, 7.4)
A(nor2x1_pcell, mcon, 0.705, 6.655, 0.17, 0.17, 3, 1, 0.44, 0)
R(nor2x1_pcell, mcon, [(1.095,0.915,1.265,1.085), (2.065,0.915,2.235,1.085), (1.025,1.995,1.195,2.165), (1.765,1.995,1.935,2.165), (0.87,4.62,1.04,4.79), (1.8,4.62,1.97,4.79), (0.705,5.295,0.875,5.465), (1.585,5.295,1.755,5.465), (2.025,5.295,2.195,5.465), (2.465,6.655,2.635,6.825)])
R(nor2x1_pcell, met1, [(0.17,-0.17,3.16,0.17), (1.095,0.835,1.265,0.885), (2.065,0.835,2.235,0.88), (2.015,0.88,2.28,1.12), (1.055,0.885,1.3,1.125), (2.065,1.12,2.235,1.57), (1.095,1.125,1.265,1.57), (1.095,1.57,2.675,1.74), (2.505,1.74,2.675,5.125), (0.985,1.935,1.23,2.215), (1.72,1.935,1.975,2.215), (1.025,2.215,1.195,4.585), (1.765,2.215,1.935,4.56), (1.765,4.56,2.005,4.855), (0.81,4.585,1.195,4.79), (0.81,4.79,1.085,4.82), (0.705,5.125,1.755,5.265), (2.025,5.125,2.675,5.26), (1.985,5.26,2.675,5.295), (0.675,5.265,1.79,5.295), (0.675,5.295,0.905,5.5), (1.55,5.295,1.79,5.495), (1.985,5.295,2.225,5.495), (1.585,5.495,1.755,5.555), (2.025,5.495,2.195,5.555), (0.705,5.5,0.875,5.555), (0.705,6.565,0.875,6.625), (1.145,6.565,1.315,6.625), (1.585,6.565,1.755,6.615), (2.465,6.565,2.635,6.62), (1.555,6.615,1.785,6.825), (2.42,6.62,2.665,6.825), (0.675,6.625,0.905,6.86), (1.115,6.625,1.345,6.855), (1.555,6.825,2.665,6.855), (1.145,6.855,1.315,7.23), (1.585,6.855,2.665,6.875), (0.705,6.86,0.875,7.025), (1.585,6.875,2.635,6.995), (0.17,7.23,3.16,7.57)])
R(nor2x1_pcell, nsdm, [(0.045,3.985,3.285,4.545), (0.045,7.19,3.285,7.695)])
R(nor2x1_pcell, psdm, [(0.045,-0.295,3.285,0.21), (0.045,2.285,3.285,2.845), (0.58,5.09,1,5.59), (1.46,5.09,2.32,5.59), (0.58,6.53,1.88,6.95), (2.34,6.53,2.76,6.95)])
nor2x1_pcell.add(gdstk.Reference(diff_ring_side, (0,0)))
nor2x1_pcell.add(gdstk.Reference(nmos_top_trim1, (1.8,0.365), rotation=pi, x_reflection=True))
nor2x1_pcell.add(gdstk.Reference(pmos2_1, (0.215,7.02)))
nor2x1_pcell.add(gdstk.Reference(poly_li1_contact, (0.96,4.71), rotation=3*pi/2))
nor2x1_pcell.add(gdstk.Reference(poly_li1_contact, (1.115,2.085), rotation=3*pi/2))
nor2x1_pcell.add(gdstk.Reference(nmos_top_trim2, (2.77,0.365), rotation=pi, x_reflection=True))
nor2x1_pcell.add(gdstk.Reference(pmos2_1, (1.095,7.02)))
nor2x1_pcell.add(gdstk.Reference(poly_li1_contact, (1.845,2.075), rotation=pi/2))
nor2x1_pcell.add(gdstk.Reference(poly_li1_contact, (1.89,4.71), rotation=3*pi/2))
nor2x1_pcell.add(gdstk.Reference(diff_ring_side, (3.33,0)))

or2x1_pcell = lib.new_cell('or2x1_pcell')
R(or2x1_pcell, met1, [(2.43,3.175,2.75,3.495), (3.91,3.175,4.23,3.495)])
R(or2x1_pcell, via, [(2.515,3.26,2.665,3.41), (3.995,3.26,4.145,3.41)])
R(or2x1_pcell, met2, [(2.43,3.175,2.75,3.245), (3.91,3.175,4.23,3.245), (2.43,3.245,4.23,3.415), (2.43,3.415,2.75,3.495), (3.91,3.415,4.23,3.495)])
or2x1_pcell.add(gdstk.Reference(nor2x1_pcell, (0,0)))
or2x1_pcell.add(gdstk.Reference(li1_m1_contact, (4.07,3.33)))
or2x1_pcell.add(gdstk.Reference(li1_m1_contact, (2.59,3.33), rotation=pi))
or2x1_pcell.add(gdstk.Reference(invx1_pcell, (3.33,0)))

c_fa = lib.new_cell('FA')
R(c_fa, nwell, [(0,4.11,39.83,4.615), (0,4.615,29.16,4.685), (29.21,4.615,39.83,4.685), (0,4.685,39.83,4.705), (0,4.705,21.795,4.765), (22.025,4.705,22.12,4.765), (22.165,4.705,39.83,4.765), (0,4.765,39.83,4.8), (0,4.8,11.075,4.84), (11.09,4.8,39.83,4.84), (0,4.84,39.83,7.94)])
R(c_fa, tap, [(0.32,0,39.51,0.09), (0.32,7.75,39.51,7.76)])
R(c_fa, li1, [(0,0,39.83,0.35), (0,7.41,39.83,7.76)])
A(c_fa, met1_pin, 38.515, 2.315, 0.17, 0.17, 1, 7, 0, 0.37)
A(c_fa, met1_pin, 1.145, 2.685, 0.17, 0.17, 1, 6, 0, 0.37)
A(c_fa, met1_pin, 10.765, 2.685, 0.17, 0.17, 1, 3, 0, 0.37)
A(c_fa, met1_pin, 21.865, 2.685, 0.17, 0.17, 1, 6, 0, 0.37)
A(c_fa, met1_pin, 23.715, 2.685, 0.17, 0.17, 1, 6, 0, 0.37)
A(c_fa, met1_pin, 3.735, 3.055, 0.17, 0.17, 1, 5, 0, 0.37)
A(c_fa, met1_pin, 29.265, 3.425, 0.17, 0.17, 1, 5, 0, 0.37)
A(c_fa, met1_pin, 30.005, 3.425, 0.17, 0.17, 1, 4, 0, 0.37)
A(c_fa, met1_pin, 10.765, 4.165, 0.17, 0.17, 1, 3, 0, 0.37)
R(c_fa, met1_pin, [(0,0,39.83,0.35), (3.735,2.315,3.905,2.485), (4.845,2.315,5.015,2.485), (30.005,2.315,30.175,2.485), (19.645,2.685,19.815,2.855), (29.265,2.685,29.435,2.855), (30.005,2.685,30.175,2.855), (4.845,3.055,5.015,3.225), (15.945,3.055,16.115,3.225), (16.435,3.425,16.605,3.595), (16.485,3.795,16.655,3.965), (19.645,3.795,19.815,3.965), (7.065,4.535,7.235,4.705), (16.435,4.535,16.605,4.705), (18.165,4.535,18.335,4.705), (0,7.41,39.83,7.76)])
A(c_fa, met1, 38.515, 2.315, 0.17, 0.17, 1, 7, 0, 0.37)
A(c_fa, met1, 1.145, 2.685, 0.17, 0.17, 1, 6, 0, 0.37)
A(c_fa, met1, 10.765, 2.685, 0.17, 0.17, 1, 3, 0, 0.37)
A(c_fa, met1, 21.865, 2.685, 0.17, 0.17, 1, 6, 0, 0.37)
A(c_fa, met1, 23.715, 2.685, 0.17, 0.17, 1, 5, 0, 0.37)
A(c_fa, met1, 3.735, 3.055, 0.17, 0.17, 1, 5, 0, 0.37)
A(c_fa, met1, 29.265, 3.425, 0.17, 0.17, 1, 4, 0, 0.37)
A(c_fa, met1, 30.005, 3.425, 0.17, 0.17, 1, 4, 0, 0.37)
A(c_fa, met1, 10.765, 4.165, 0.17, 0.17, 1, 3, 0, 0.37)
R(c_fa, met1, [(0,0,39.83,0.35), (3.655,2.115,3.975,2.435), (29.93,2.115,30.25,2.435), (12.175,2.255,12.495,2.575), (24.375,2.255,24.695,2.575), (4.845,2.315,5.015,2.485), (3.735,2.435,3.905,2.485), (30.005,2.435,30.175,2.485), (19.645,2.685,19.815,2.855), (29.265,2.685,29.435,2.855), (30.005,2.685,30.175,2.855), (34.735,2.965,35.055,3.285), (27.34,2.99,27.66,3.31), (4.845,3.055,5.015,3.225), (15.945,3.055,16.115,3.225), (32.885,3.35,33.205,3.67), (35.475,3.35,35.795,3.67), (36.22,3.355,36.54,3.675), (37.7,3.355,38.02,3.675), (16.435,3.425,16.605,3.595), (12.175,3.6,12.495,3.92), (16.485,3.795,16.655,3.965), (19.645,3.795,19.815,3.965), (23.635,4.465,23.955,4.785), (7.065,4.535,7.235,4.705), (16.435,4.535,16.605,4.705), (18.165,4.535,18.335,4.705), (29.19,4.785,29.51,5.105), (0,7.41,39.83,7.76)])
R(c_fa, via, [(3.74,2.2,3.89,2.35), (30.015,2.2,30.165,2.35), (12.26,2.34,12.41,2.49), (24.46,2.34,24.61,2.49), (34.82,3.05,34.97,3.2), (27.425,3.075,27.575,3.225), (32.97,3.435,33.12,3.585), (35.56,3.435,35.71,3.585), (36.305,3.44,36.455,3.59), (37.785,3.44,37.935,3.59), (12.26,3.685,12.41,3.835), (23.72,4.55,23.87,4.7), (29.275,4.87,29.425,5.02)])
R(c_fa, met2, [(3.735,1.945,30.175,2.115), (3.655,2.115,3.975,2.435), (29.93,2.115,30.25,2.435), (12.175,2.255,12.495,2.315), (24.375,2.255,24.695,2.315), (19.045,2.285,19.645,2.315), (12.77,2.3,13.37,2.315), (12.175,2.315,24.695,2.455), (12.175,2.455,19.045,2.47), (19.645,2.455,24.695,2.485), (12.175,2.47,12.77,2.485), (13.37,2.47,19.045,2.485), (12.175,2.485,12.495,2.575), (24.375,2.485,24.695,2.575), (34.735,2.965,35.055,3.055), (27.34,2.99,27.66,3.055), (30.53,3.04,31.13,3.055), (32.005,3.04,32.605,3.055), (32.745,3.04,33.345,3.055), (27.34,3.055,35.055,3.21), (27.34,3.21,30.53,3.225), (31.13,3.21,32.005,3.225), (32.605,3.21,32.745,3.225), (33.345,3.21,35.055,3.225), (27.34,3.225,27.66,3.31), (34.735,3.225,35.055,3.285), (32.885,3.35,33.205,3.425), (35.475,3.35,35.795,3.425), (36.22,3.355,36.54,3.425), (37.7,3.355,38.02,3.425), (32.885,3.425,35.795,3.595), (36.22,3.425,38.02,3.595), (32.885,3.595,33.205,3.67), (35.475,3.595,35.795,3.67), (36.22,3.595,36.54,3.675), (37.7,3.595,38.02,3.675), (12.175,3.6,12.495,3.72), (11.765,3.72,12.495,3.795), (8.775,3.795,12.495,3.89), (8.775,3.89,11.905,3.965), (12.175,3.89,12.495,3.92), (23.635,4.465,23.955,4.535), (21.865,4.535,23.955,4.705), (21.865,4.705,22.12,4.805), (23.635,4.705,23.955,4.785), (29.19,4.785,29.51,4.905), (21.865,4.805,22.035,4.835), (10.765,4.905,17.95,5.075), (18.55,4.905,21.51,5.075), (22.325,4.905,23.495,4.925), (24.095,4.905,29.51,4.925), (22.325,4.925,29.51,5.075), (17.78,5.075,17.95,5.215), (18.55,5.075,18.72,5.215), (21.34,5.075,21.51,5.215), (22.325,5.075,22.495,5.215), (23.495,5.075,24.095,5.095), (29.19,5.075,29.51,5.105), (17.78,5.215,18.72,5.385), (21.34,5.215,22.495,5.385)])
R(c_fa, nsdm, [(0.195,7.625,39.635,7.885)])
R(c_fa, psdm, [(0.195,-0.125,39.635,0.215)])
R(c_fa, boundary, [(0,0,39.83,7.76)])
c_fa.add(gdstk.Reference(xor2x1_pcell, (0.49,0.18)))
c_fa.add(gdstk.Reference(xor2x1_pcell, (11.59,0.18)))
c_fa.add(gdstk.Reference(and2x1_pcell, (22.69,0.18)))
c_fa.add(gdstk.Reference(li1_m1_contact, (23.8,4.62)))
c_fa.add(gdstk.Reference(li1_m1_contact, (12.33,3.715)))
c_fa.add(gdstk.Reference(and2x1_pcell, (28.24,0.18)))
c_fa.add(gdstk.Reference(li1_m1_contact, (27.5,3.14), rotation=pi))
c_fa.add(gdstk.Reference(li1_m1_contact, (35.64,3.51)))
c_fa.add(gdstk.Reference(li1_m1_contact, (34.9,3.14)))
c_fa.add(gdstk.Reference(li1_m1_contact, (33.05,3.51), rotation=pi))
c_fa.add(gdstk.Reference(or2x1_pcell, (33.79,0.18)))
c_fa.add(gdstk.Label('SUM', (16.57,3.88), layer=68, texttype=5))
c_fa.add(gdstk.Label('SUM', (16.52,4.62), layer=68, texttype=5))
c_fa.add(gdstk.Label('SUM', (16.52,3.51), layer=68, texttype=5))
c_fa.add(gdstk.Label('SUM', (19.73,2.77), layer=68, texttype=5))
c_fa.add(gdstk.Label('SUM', (19.73,3.88), layer=68, texttype=5))
c_fa.add(gdstk.Label('COUT', (38.6,2.4), layer=68, texttype=5))
c_fa.add(gdstk.Label('COUT', (38.6,2.77), layer=68, texttype=5))
c_fa.add(gdstk.Label('COUT', (38.6,3.14), layer=68, texttype=5))
c_fa.add(gdstk.Label('COUT', (38.6,4.62), layer=68, texttype=5))
c_fa.add(gdstk.Label('COUT', (38.6,4.25), layer=68, texttype=5))
c_fa.add(gdstk.Label('COUT', (38.6,3.88), layer=68, texttype=5))
c_fa.add(gdstk.Label('COUT', (38.6,3.51), layer=68, texttype=5))
c_fa.add(gdstk.Label('A', (1.23,4.25), layer=68, texttype=5))
c_fa.add(gdstk.Label('A', (30.09,2.4), layer=68, texttype=5))
c_fa.add(gdstk.Label('A', (30.09,2.77), layer=68, texttype=5))
c_fa.add(gdstk.Label('A', (30.09,3.51), layer=68, texttype=5))
c_fa.add(gdstk.Label('A', (30.09,3.88), layer=68, texttype=5))
c_fa.add(gdstk.Label('A', (30.09,4.25), layer=68, texttype=5))
c_fa.add(gdstk.Label('A', (30.09,4.62), layer=68, texttype=5))
c_fa.add(gdstk.Label('A', (3.82,2.4), layer=68, texttype=5))
c_fa.add(gdstk.Label('A', (3.82,3.14), layer=68, texttype=5))
c_fa.add(gdstk.Label('A', (3.82,3.51), layer=68, texttype=5))
c_fa.add(gdstk.Label('A', (3.82,3.88), layer=68, texttype=5))
c_fa.add(gdstk.Label('A', (3.82,4.25), layer=68, texttype=5))
c_fa.add(gdstk.Label('A', (3.82,4.62), layer=68, texttype=5))
c_fa.add(gdstk.Label('A', (1.23,2.77), layer=68, texttype=5))
c_fa.add(gdstk.Label('A', (1.23,3.14), layer=68, texttype=5))
c_fa.add(gdstk.Label('A', (1.23,3.51), layer=68, texttype=5))
c_fa.add(gdstk.Label('A', (1.23,3.88), layer=68, texttype=5))
c_fa.add(gdstk.Label('A', (1.23,4.62), layer=68, texttype=5))
c_fa.add(gdstk.Label('B', (29.35,2.77), layer=68, texttype=5))
c_fa.add(gdstk.Label('B', (29.35,4.99), layer=68, texttype=5))
c_fa.add(gdstk.Label('B', (29.35,4.62), layer=68, texttype=5))
c_fa.add(gdstk.Label('B', (29.35,4.25), layer=68, texttype=5))
c_fa.add(gdstk.Label('B', (29.35,3.88), layer=68, texttype=5))
c_fa.add(gdstk.Label('B', (29.35,3.51), layer=68, texttype=5))
c_fa.add(gdstk.Label('B', (4.93,2.4), layer=68, texttype=5))
c_fa.add(gdstk.Label('B', (4.93,3.14), layer=68, texttype=5))
c_fa.add(gdstk.Label('B', (10.85,3.14), layer=68, texttype=5))
c_fa.add(gdstk.Label('B', (10.85,2.77), layer=68, texttype=5))
c_fa.add(gdstk.Label('B', (10.85,3.51), layer=68, texttype=5))
c_fa.add(gdstk.Label('B', (10.85,4.25), layer=68, texttype=5))
c_fa.add(gdstk.Label('B', (10.85,4.99), layer=68, texttype=5))
c_fa.add(gdstk.Label('B', (10.85,4.62), layer=68, texttype=5))
c_fa.add(gdstk.Label('B', (7.15,4.62), layer=68, texttype=5))
c_fa.add(gdstk.Label('CIN', (16.03,3.14), layer=68, texttype=5))
c_fa.add(gdstk.Label('CIN', (18.25,4.62), layer=68, texttype=5))
c_fa.add(gdstk.Label('CIN', (21.95,2.77), layer=68, texttype=5))
c_fa.add(gdstk.Label('CIN', (21.95,4.25), layer=68, texttype=5))
c_fa.add(gdstk.Label('CIN', (21.95,3.88), layer=68, texttype=5))
c_fa.add(gdstk.Label('CIN', (21.95,3.51), layer=68, texttype=5))
c_fa.add(gdstk.Label('CIN', (21.95,3.14), layer=68, texttype=5))
c_fa.add(gdstk.Label('CIN', (21.95,4.62), layer=68, texttype=5))
c_fa.add(gdstk.Label('CIN', (23.8,2.77), layer=68, texttype=5))
c_fa.add(gdstk.Label('CIN', (23.8,3.14), layer=68, texttype=5))
c_fa.add(gdstk.Label('CIN', (23.8,3.51), layer=68, texttype=5))
c_fa.add(gdstk.Label('CIN', (23.8,3.88), layer=68, texttype=5))
c_fa.add(gdstk.Label('CIN', (23.8,4.25), layer=68, texttype=5))
c_fa.add(gdstk.Label('CIN', (23.8,4.62), layer=68, texttype=5))
c_fa.add(gdstk.Label('VDD', (19.915,7.585), layer=68, texttype=5))
c_fa.add(gdstk.Label('GND', (19.915,0.175), layer=68, texttype=5))

lib.write_gds('FA.gds')
